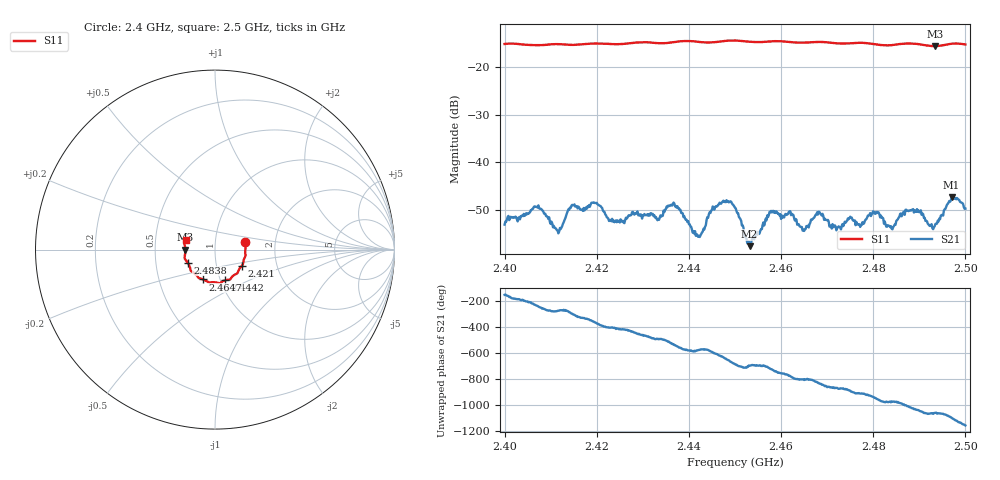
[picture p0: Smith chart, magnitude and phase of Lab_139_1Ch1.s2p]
# Hz S RI R 50
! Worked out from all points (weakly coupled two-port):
!   601 points, 2.4 GHz to 2.5 GHz, reference 50 ohm
!   highest |S21| = -47.32 dB at 2.497 GHz (marker M1); lowest = -57.6 dB at 2.4532 GHz (marker M2)
!   lowest |S11| = -15.6 dB at 2.4933 GHz (marker M3), VSWR 1.40, Z = 35.8 + j0.0373 ohm
!   |S11| at or under -10 dB: start of sweep to end of sweep
!   S12 and S22 are empty: the file has one direction only
!   S11 on the Smith chart (normalised r, x): 2.4 GHz: 1.40, +0.12; 2.421 GHz: 1.33, -0.24; 2.4442 GHz: 1.05, -0.37; 2.4647 GHz: 0.83, -0.28; 2.4838 GHz: 0.73, -0.11; 2.5 GHz: 0.72, +0.08
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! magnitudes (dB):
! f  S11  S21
! 2.4 GHz  -15.2  -53.1
! 2.4068 GHz  -15.4  -49.3
! 2.4117 GHz  -15.2  -54.9
! 2.4143 GHz  -15.4  -49.6
! 2.4167 GHz  -15.3  -49.9
! 2.421 GHz  -15.1  -49.4
! 2.4333 GHz  -15.0  -51.9
! 2.437 GHz  -14.8  -49.3
! 2.442 GHz  -14.7  -55.6
! 2.4442 GHz  -14.9  -51.6
! 2.45 GHz  -14.5  -49.5
! 2.4532 GHz  -14.7  -57.6
! 2.458 GHz  -14.6  -50.5
! 2.4647 GHz  -14.9  -54.3
! 2.4667 GHz  -14.8  -52.1
! 2.4805 GHz  -15.3  -50.8
! 2.4833 GHz  -15.5  -53.3
! 2.4838 GHz  -15.5  -53.4
! 2.4882 GHz  -15.1  -50.1
! 2.4933 GHz  -15.6  -53.4
! 2.497 GHz  -15.1  -47.3
! 2.5 GHz  -15.3  -49.7
